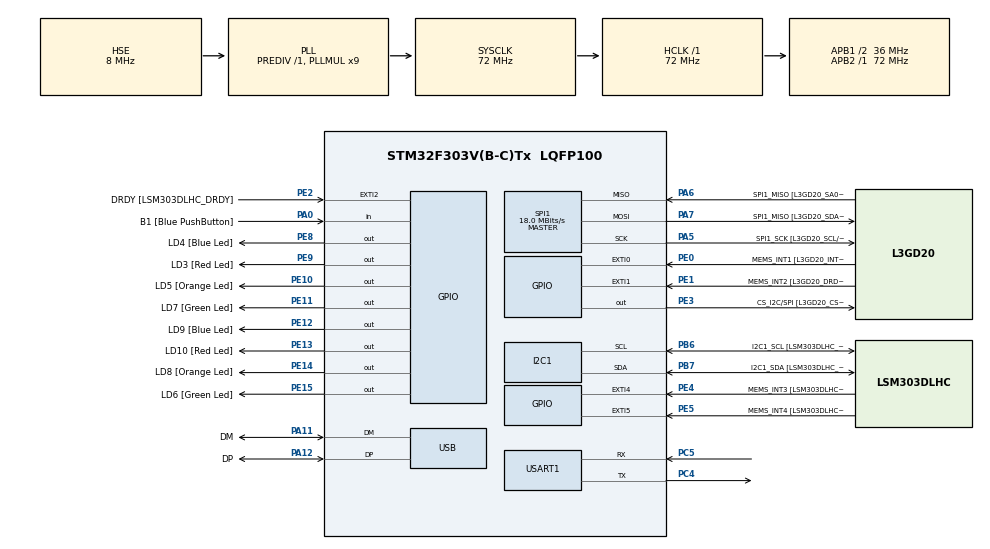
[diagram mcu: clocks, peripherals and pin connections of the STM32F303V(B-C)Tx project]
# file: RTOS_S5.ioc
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FREERTOS.Tasks01=defaultTask,0,128,StartDefaultTask,Default,NULL,Dynamic,NULL,NULL
FREERTOS.configUSE_NEWLIB_REENTRANT=1
I2C1.Timing-I2C=0x2000090E
Mcu.Family=STM32F3
Mcu.Name=STM32F303V(B-C)Tx
Mcu.Package=LQFP100
NVIC.PriorityGroup=NVIC_PRIORITYGROUP_4
NVIC.TIM1_UP_TIM16_IRQn=true\:15\:0\:false\:false\:true\:false\:false\:true\:true
NVIC.TimeBase=TIM1_UP_TIM16_IRQn
NVIC.TimeBaseIP=TIM1
NVIC.USART1_IRQn=true\:5\:0\:false\:false\:true\:true\:true\:true\:true
PA0.GPIO_Label=B1 [Blue PushButton]
PA0.Signal=GPIO_Input
PA11.GPIO_Label=DM
PA11.Mode=Device
PA11.Signal=USB_DM
PA12.GPIO_Label=DP
PA12.Mode=Device
PA12.Signal=USB_DP
PA13.GPIO_Label=SWDIO
PA13.Mode=Serial_Wire
PA13.Signal=SYS_JTMS-SWDIO
PA14.GPIO_Label=SWCLK
PA14.Mode=Serial_Wire
PA14.Signal=SYS_JTCK-SWCLK
PA5.GPIO_Label=SPI1_SCK [L3GD20_SCL/SPC]
PA5.Mode=Full_Duplex_Master
PA5.Signal=SPI1_SCK
PA6.GPIO_Label=SPI1_MISO [L3GD20_SA0/SDO]
PA6.Mode=Full_Duplex_Master
PA6.Signal=SPI1_MISO
PA7.GPIO_Label=SPI1_MISO [L3GD20_SDA/SDI/SDO]
PA7.Mode=Full_Duplex_Master
PA7.Signal=SPI1_MOSI
PB3.GPIO_Label=SWO
PB3.Signal=SYS_JTDO-TRACESWO
PB6.GPIO_Label=I2C1_SCL [LSM303DLHC_SCL]
PB6.GPIO_Pu=GPIO_PULLUP
PB6.Mode=I2C
PB6.Signal=I2C1_SCL
PB7.GPIO_Label=I2C1_SDA [LSM303DLHC_SDA]
PB7.GPIO_Pu=GPIO_PULLUP
PB7.Mode=I2C
PB7.Signal=I2C1_SDA
PC14-OSC32_IN.GPIO_Label=OSC32_IN
PC14-OSC32_IN.Signal=RCC_OSC32_IN
PC15-OSC32_OUT.GPIO_Label=OSC32_OUT
PC15-OSC32_OUT.Signal=RCC_OSC32_OUT
PC4.Mode=Asynchronous
PC4.Signal=USART1_TX
PC5.Mode=Asynchronous
PC5.Signal=USART1_RX
PE0.GPIO_Label=MEMS_INT1 [L3GD20_INT1]
PE0.GPIO_ModeDefaultEXTI=GPIO_MODE_EVT_RISING
PE0.Signal=GPXTI0
PE1.GPIO_Label=MEMS_INT2 [L3GD20_DRDY/INT2]
PE1.GPIO_ModeDefaultEXTI=GPIO_MODE_EVT_RISING
PE1.Signal=GPXTI1
PE10.GPIO_Label=LD5 [Orange Led]
PE10.Signal=GPIO_Output
PE11.GPIO_Label=LD7 [Green Led]
PE11.Signal=GPIO_Output
PE12.GPIO_Label=LD9 [Blue Led]
PE12.Signal=GPIO_Output
PE13.GPIO_Label=LD10 [Red Led]
PE13.Signal=GPIO_Output
PE14.GPIO_Label=LD8 [Orange Led]
PE14.Signal=GPIO_Output
PE15.GPIO_Label=LD6 [Green Led]
PE15.Signal=GPIO_Output
PE2.GPIO_Label=DRDY [LSM303DLHC_DRDY]
PE2.GPIO_ModeDefaultEXTI=GPIO_MODE_EVT_RISING
PE2.Signal=GPXTI2
PE3.GPIO_Label=CS_I2C/SPI [L3GD20_CS_I2C/SPI]
PE3.Signal=GPIO_Output
PE4.GPIO_Label=MEMS_INT3 [LSM303DLHC_INT1]
PE4.GPIO_ModeDefaultEXTI=GPIO_MODE_EVT_RISING
PE4.Signal=GPXTI4
PE5.GPIO_Label=MEMS_INT4 [LSM303DLHC_INT2]
PE5.GPIO_ModeDefaultEXTI=GPIO_MODE_EVT_RISING
PE5.Signal=GPXTI5
PE8.GPIO_Label=LD4 [Blue Led]
PE8.Signal=GPIO_Output
PE9.GPIO_Label=LD3 [Red Led]
PE9.Signal=GPIO_Output
PF0-OSC_IN.GPIO_Label=OSC_IN
PF0-OSC_IN.Mode=HSE-External-Clock-Source
PF0-OSC_IN.Signal=RCC_OSC_IN
PF1-OSC_OUT.GPIO_Label=OSC_OUT
PF1-OSC_OUT.Signal=RCC_OSC_OUT
ProjectManager.HeapSize=0x200
ProjectManager.StackSize=0x400
ProjectManager.TargetToolchain=STM32CubeIDE
RCC.AHBFreq_Value=72000000
RCC.APB1CLKDivider=RCC_HCLK_DIV2
RCC.APB1Freq_Value=36000000
RCC.APB1TimFreq_Value=72000000
RCC.APB2Freq_Value=72000000
RCC.APB2TimFreq_Value=72000000
RCC.CortexFreq_Value=72000000
RCC.HCLKFreq_Value=72000000
RCC.HSE_VALUE=8000000
RCC.HSI_VALUE=8000000
RCC.LSE_VALUE=32768
RCC.PLLMUL=RCC_PLL_MUL9
RCC.PRESCALERUSB=RCC_USBCLKSOURCE_PLL_DIV1_5
RCC.SYSCLKFreq_VALUE=72000000
RCC.SYSCLKSourceVirtual=RCC_SYSCLKSOURCE_PLLCLK
RCC.USBFreq_Value=48000000
SPI1.BaudRatePrescaler=SPI_BAUDRATEPRESCALER_4
SPI1.BaudRatePrescaler-Full_Duplex_Master=SPI_BAUDRATEPRESCALER_2
SPI1.CalculateBaudRate=18.0 MBits/s
SPI1.CalculateBaudRate-Full_Duplex_Master=24.0 MBits/s
SPI1.Direction=SPI_DIRECTION_2LINES
SPI1.Mode=SPI_MODE_MASTER
SPI1.Mode-Full_Duplex_Master=SPI_MODE_MASTER
SPI1.VirtualType=VM_MASTER
USART1.VirtualMode-Asynchronous=VM_ASYNC
VP_FREERTOS_VS_CMSIS_V1.Mode=CMSIS_V1
VP_SYS_VS_tim1.Mode=TIM1
board=STM32F3DISCOVERY

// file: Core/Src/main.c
/* USER CODE BEGIN Header */
/**
  ******************************************************************************
  * @file           : main.c
  * @brief          : Main program body
  ******************************************************************************
  * @attention
  *
  * Copyright (c) 2024 STMicroelectronics.
  * All rights reserved.
  *
  * This software is licensed under terms that can be found in the LICENSE file
  * in the root directory of this software component.
  * If no LICENSE file comes with this software, it is provided AS-IS.
  *
  ******************************************************************************
  */
/* USER CODE END Header */
#include "main.h"
//#include "cmsis_os.h"

/* USER CODE BEGIN Includes */
#include "FreeRTOS.h"
#include "task.h"
#include "timers.h"
#include "queue.h"
#include "semphr.h"
#include "event_groups.h"
#include "string.h"

/* USER CODE END Includes */

I2C_HandleTypeDef hi2c1;

SPI_HandleTypeDef hspi1;

UART_HandleTypeDef huart1;

PCD_HandleTypeDef hpcd_USB_FS;

void SystemClock_Config(void);
static void MX_GPIO_Init(void);
static void MX_I2C1_Init(void);
static void MX_SPI1_Init(void);
static void MX_USB_PCD_Init(void);
static void MX_USART1_UART_Init(void);

/* USER CODE BEGIN 0 */

/********************* Queue Handlers *********************/
xQueueHandle ST_Queue_Handler;

/********************* Task Handlers *********************/
xTaskHandle Sender1_Task_Handler;
xTaskHandle Sender2_Task_Handler;
xTaskHandle Receiver_Task_Handler;

/********************* Structs and variables *********************/
typedef struct {
	char *str;
	int counter;
	uint16_t large_value;
} qstruct;

int indx1 = 0;
int indx2 = 0;

/********************* Task Functions *********************/
void Sender1_TASK_Start(void *args);
void Sender2_TASK_Start(void *args);
void Receiver_TASK_Start(void *args);

/********************* UART *********************/
uint8_t rx_data = 0;

/* USER CODE END 0 */

int main(void)
{

  /* MCU Configuration--------------------------------------------------------*/

  /* Reset of all peripherals, Initializes the Flash interface and the Systick. */
  HAL_Init();

  /* Configure the system clock */
  SystemClock_Config();

  /* Initialize all configured peripherals */
  MX_GPIO_Init();
  MX_I2C1_Init();
  MX_SPI1_Init();
  MX_USB_PCD_Init();
  MX_USART1_UART_Init();
  /* USER CODE BEGIN 2 */

  /********************* Create Queue *********************/
  ST_Queue_Handler = xQueueCreate(2, sizeof(qstruct));
  // Check Queue is created successfully or not!
  if(ST_Queue_Handler == 0) {
	  uint8_t queue_data[100];
	  sprintf(queue_data, "Unable to create Structured queue!\r\n\r\n");
	  HAL_UART_Transmit(&huart1, queue_data, strlen(queue_data), HAL_MAX_DELAY);
  }
  else {
	  uint8_t queue_data[100];
	  sprintf(queue_data, "Structured queue created successfully!!\r\n\r\n");
	  HAL_UART_Transmit(&huart1, queue_data, strlen(queue_data), HAL_MAX_DELAY);
  }

  /********************* Create Tasks *********************/
  xTaskCreate(Sender1_TASK_Start, "SENDER1", 128, NULL, 2, &Sender1_Task_Handler);
  xTaskCreate(Sender2_TASK_Start, "SENDER2", 128, NULL, 2, &Sender2_Task_Handler);
  xTaskCreate(Receiver_TASK_Start, "RECEIVER", 128, NULL, 1, &Receiver_Task_Handler);

  /********************* Scheduler *********************/
  vTaskStartScheduler();

  /* USER CODE END 2 */

  /* Infinite loop */
  while (1)
  {

  }
}

void SystemClock_Config(void)
{
  RCC_OscInitTypeDef RCC_OscInitStruct = {0};
  RCC_ClkInitTypeDef RCC_ClkInitStruct = {0};
  RCC_PeriphCLKInitTypeDef PeriphClkInit = {0};

  /** Initializes the RCC Oscillators according to the specified parameters
  * in the RCC_OscInitTypeDef structure.
  */
  RCC_OscInitStruct.OscillatorType = RCC_OSCILLATORTYPE_HSI|RCC_OSCILLATORTYPE_HSE;
  RCC_OscInitStruct.HSEState = RCC_HSE_BYPASS;
  RCC_OscInitStruct.HSEPredivValue = RCC_HSE_PREDIV_DIV1;
  RCC_OscInitStruct.HSIState = RCC_HSI_ON;
  RCC_OscInitStruct.HSICalibrationValue = RCC_HSICALIBRATION_DEFAULT;
  RCC_OscInitStruct.PLL.PLLState = RCC_PLL_ON;
  RCC_OscInitStruct.PLL.PLLSource = RCC_PLLSOURCE_HSE;
  RCC_OscInitStruct.PLL.PLLMUL = RCC_PLL_MUL9;
  if (HAL_RCC_OscConfig(&RCC_OscInitStruct) != HAL_OK)
  {
    Error_Handler();
  }

  /** Initializes the CPU, AHB and APB buses clocks
  */
  RCC_ClkInitStruct.ClockType = RCC_CLOCKTYPE_HCLK|RCC_CLOCKTYPE_SYSCLK
                              |RCC_CLOCKTYPE_PCLK1|RCC_CLOCKTYPE_PCLK2;
  RCC_ClkInitStruct.SYSCLKSource = RCC_SYSCLKSOURCE_PLLCLK;
  RCC_ClkInitStruct.AHBCLKDivider = RCC_SYSCLK_DIV1;
  RCC_ClkInitStruct.APB1CLKDivider = RCC_HCLK_DIV2;
  RCC_ClkInitStruct.APB2CLKDivider = RCC_HCLK_DIV1;

  if (HAL_RCC_ClockConfig(&RCC_ClkInitStruct, FLASH_LATENCY_2) != HAL_OK)
  {
    Error_Handler();
  }
  PeriphClkInit.PeriphClockSelection = RCC_PERIPHCLK_USB|RCC_PERIPHCLK_USART1
                              |RCC_PERIPHCLK_I2C1;
  PeriphClkInit.Usart1ClockSelection = RCC_USART1CLKSOURCE_PCLK2;
  PeriphClkInit.I2c1ClockSelection = RCC_I2C1CLKSOURCE_HSI;
  PeriphClkInit.USBClockSelection = RCC_USBCLKSOURCE_PLL_DIV1_5;
  if (HAL_RCCEx_PeriphCLKConfig(&PeriphClkInit) != HAL_OK)
  {
    Error_Handler();
  }
}

static void MX_I2C1_Init(void)
{

  hi2c1.Instance = I2C1;
  hi2c1.Init.Timing = 0x2000090E;
  hi2c1.Init.OwnAddress1 = 0;
  hi2c1.Init.AddressingMode = I2C_ADDRESSINGMODE_7BIT;
  hi2c1.Init.DualAddressMode = I2C_DUALADDRESS_DISABLE;
  hi2c1.Init.OwnAddress2 = 0;
  hi2c1.Init.OwnAddress2Masks = I2C_OA2_NOMASK;
  hi2c1.Init.GeneralCallMode = I2C_GENERALCALL_DISABLE;
  hi2c1.Init.NoStretchMode = I2C_NOSTRETCH_DISABLE;
  if (HAL_I2C_Init(&hi2c1) != HAL_OK)
  {
    Error_Handler();
  }

  /** Configure Analogue filter
  */
  if (HAL_I2CEx_ConfigAnalogFilter(&hi2c1, I2C_ANALOGFILTER_ENABLE) != HAL_OK)
  {
    Error_Handler();
  }

  /** Configure Digital filter
  */
  if (HAL_I2CEx_ConfigDigitalFilter(&hi2c1, 0) != HAL_OK)
  {
    Error_Handler();
  }

}

static void MX_SPI1_Init(void)
{

  /* SPI1 parameter configuration*/
  hspi1.Instance = SPI1;
  hspi1.Init.Mode = SPI_MODE_MASTER;
  hspi1.Init.Direction = SPI_DIRECTION_2LINES;
  hspi1.Init.DataSize = SPI_DATASIZE_4BIT;
  hspi1.Init.CLKPolarity = SPI_POLARITY_LOW;
  hspi1.Init.CLKPhase = SPI_PHASE_1EDGE;
  hspi1.Init.NSS = SPI_NSS_SOFT;
  hspi1.Init.BaudRatePrescaler = SPI_BAUDRATEPRESCALER_4;
  hspi1.Init.FirstBit = SPI_FIRSTBIT_MSB;
  hspi1.Init.TIMode = SPI_TIMODE_DISABLE;
  hspi1.Init.CRCCalculation = SPI_CRCCALCULATION_DISABLE;
  hspi1.Init.CRCPolynomial = 7;
  hspi1.Init.CRCLength = SPI_CRC_LENGTH_DATASIZE;
  hspi1.Init.NSSPMode = SPI_NSS_PULSE_ENABLE;
  if (HAL_SPI_Init(&hspi1) != HAL_OK)
  {
    Error_Handler();
  }

}

static void MX_USART1_UART_Init(void)
{

  huart1.Instance = USART1;
  huart1.Init.BaudRate = 38400;
  huart1.Init.WordLength = UART_WORDLENGTH_8B;
  huart1.Init.StopBits = UART_STOPBITS_1;
  huart1.Init.Parity = UART_PARITY_NONE;
  huart1.Init.Mode = UART_MODE_TX_RX;
  huart1.Init.HwFlowCtl = UART_HWCONTROL_NONE;
  huart1.Init.OverSampling = UART_OVERSAMPLING_16;
  huart1.Init.OneBitSampling = UART_ONE_BIT_SAMPLE_DISABLE;
  huart1.AdvancedInit.AdvFeatureInit = UART_ADVFEATURE_NO_INIT;
  if (HAL_UART_Init(&huart1) != HAL_OK)
  {
    Error_Handler();
  }

}

static void MX_USB_PCD_Init(void)
{

  hpcd_USB_FS.Instance = USB;
  hpcd_USB_FS.Init.dev_endpoints = 8;
  hpcd_USB_FS.Init.speed = PCD_SPEED_FULL;
  hpcd_USB_FS.Init.phy_itface = PCD_PHY_EMBEDDED;
  hpcd_USB_FS.Init.low_power_enable = DISABLE;
  hpcd_USB_FS.Init.battery_charging_enable = DISABLE;
  if (HAL_PCD_Init(&hpcd_USB_FS) != HAL_OK)
  {
    Error_Handler();
  }

}

static void MX_GPIO_Init(void)
{
  GPIO_InitTypeDef GPIO_InitStruct = {0};

  /* GPIO Ports Clock Enable */
  __HAL_RCC_GPIOE_CLK_ENABLE();
  __HAL_RCC_GPIOC_CLK_ENABLE();
  __HAL_RCC_GPIOF_CLK_ENABLE();
  __HAL_RCC_GPIOA_CLK_ENABLE();
  __HAL_RCC_GPIOB_CLK_ENABLE();

  /*Configure GPIO pin Output Level */
  HAL_GPIO_WritePin(GPIOE, CS_I2C_SPI_Pin|LD4_Pin|LD3_Pin|LD5_Pin
                          |LD7_Pin|LD9_Pin|LD10_Pin|LD8_Pin
                          |LD6_Pin, GPIO_PIN_RESET);

  /*Configure GPIO pins : DRDY_Pin MEMS_INT3_Pin MEMS_INT4_Pin MEMS_INT1_Pin
                           MEMS_INT2_Pin */
  GPIO_InitStruct.Pin = DRDY_Pin|MEMS_INT3_Pin|MEMS_INT4_Pin|MEMS_INT1_Pin
                          |MEMS_INT2_Pin;
  GPIO_InitStruct.Mode = GPIO_MODE_EVT_RISING;
  GPIO_InitStruct.Pull = GPIO_NOPULL;
  HAL_GPIO_Init(GPIOE, &GPIO_InitStruct);

  /*Configure GPIO pins : CS_I2C_SPI_Pin LD4_Pin LD3_Pin LD5_Pin
                           LD7_Pin LD9_Pin LD10_Pin LD8_Pin
                           LD6_Pin */
  GPIO_InitStruct.Pin = CS_I2C_SPI_Pin|LD4_Pin|LD3_Pin|LD5_Pin
                          |LD7_Pin|LD9_Pin|LD10_Pin|LD8_Pin
                          |LD6_Pin;
  GPIO_InitStruct.Mode = GPIO_MODE_OUTPUT_PP;
  GPIO_InitStruct.Pull = GPIO_NOPULL;
  GPIO_InitStruct.Speed = GPIO_SPEED_FREQ_LOW;
  HAL_GPIO_Init(GPIOE, &GPIO_InitStruct);

  /*Configure GPIO pin : B1_Pin */
  GPIO_InitStruct.Pin = B1_Pin;
  GPIO_InitStruct.Mode = GPIO_MODE_INPUT;
  GPIO_InitStruct.Pull = GPIO_NOPULL;
  HAL_GPIO_Init(B1_GPIO_Port, &GPIO_InitStruct);

}

/* USER CODE BEGIN 4 */
void Sender1_TASK_Start(void *args) {
	qstruct *ptr2struct;
	uint32_t TickDelay = pdMS_TO_TICKS(2000);
	while(1) {
		uint8_t data[100];
		sprintf(data, "Entered Sender1 Task\r\n about to send to the queue\r\n\r\n");
		HAL_UART_Transmit(&huart1, data, strlen(data), HAL_MAX_DELAY);

		/*************** Allocate Memory to the pointer of structure ***************/
		ptr2struct = pvPortMalloc(sizeof(qstruct));

		/*************** Load data to the structure ***************/
		ptr2struct->counter = 1 + indx1;
		ptr2struct->large_value = 1000 + indx1*10;
		ptr2struct->str = "A message from Sender1 Task!";

		/*************** Send data to the queue ***************/
		if(xQueueSend(ST_Queue_Handler, &ptr2struct, portMAX_DELAY) == pdPASS) {
			sprintf(data, "Successfully sent the struct to the queue\r\nLeaving Sender1 Task\r\n\r\n\r\n");
			HAL_UART_Transmit(&huart1, data, strlen(data), HAL_MAX_DELAY);
		}

		indx1++;

		vTaskDelay(TickDelay);
	}
}

void Sender2_TASK_Start(void *args) {
	qstruct *ptr2struct;
	uint32_t TickDelay = pdMS_TO_TICKS(2000);
	while(1) {
		uint8_t data[100];
		sprintf(data, "Entered Sender2 Task\r\n about to send to the queue\r\n\r\n");
		HAL_UART_Transmit(&huart1, data, strlen(data), HAL_MAX_DELAY);

		/*************** Allocate Memory to the pointer of structure ***************/
		ptr2struct = pvPortMalloc(sizeof(qstruct));

		/*************** Load data to the structure ***************/
		ptr2struct->counter = 1 + indx2;
		ptr2struct->large_value = 2000 + indx2*20;
		ptr2struct->str = "A message from Sender2 Task!";

		/*************** Send data to the queue ***************/
		if(xQueueSend(ST_Queue_Handler, &ptr2struct, portMAX_DELAY) == pdPASS) {
			sprintf(data, "Successfully sent the struct to the queue\r\nLeaving Sender2 Task\r\n\r\n\r\n");
			HAL_UART_Transmit(&huart1, data, strlen(data), HAL_MAX_DELAY);
		}

		indx2++;

		vTaskDelay(TickDelay);
	}
}

void Receiver_TASK_Start(void *args) {
	qstruct *rptr2struct;
	uint32_t TickDelay = pdMS_TO_TICKS(3000);
	char *ptr;

	while(1) {
		uint8_t data[100];
		sprintf(data, "Entered RECEIVER Task\r\n about to receive from the queue\r\n\r\n");
		HAL_UART_Transmit(&huart1, data, strlen(data), HAL_MAX_DELAY);

		/*************** Receive data from the queue ***************/
		if(xQueueReceive(ST_Queue_Handler, &rptr2struct, portMAX_DELAY) == pdPASS) {

			ptr = pvPortMalloc(200 * sizeof(char)); //allocate memory

			sprintf(ptr,
					"Received from Queue:\r\n Counter = %d\r\n Large Value = %u\r\n String = %s\r\n\r\n\r\n",
					rptr2struct->counter,
					rptr2struct->large_value,
					rptr2struct->str);

			HAL_UART_Transmit(&huart1, ptr, strlen(ptr), HAL_MAX_DELAY);

			vPortFree(ptr); //free memory

		}
		vPortFree(rptr2struct); //free memory (this will free sender1 and sender2 allocated memory)

		vTaskDelay(TickDelay);
	}
}

/* USER CODE END 4 */

void HAL_TIM_PeriodElapsedCallback(TIM_HandleTypeDef *htim)
{
  if (htim->Instance == TIM1) {
    HAL_IncTick();
  }
}

void Error_Handler(void)
{
  __disable_irq();
  while (1)
  {
  }
}
